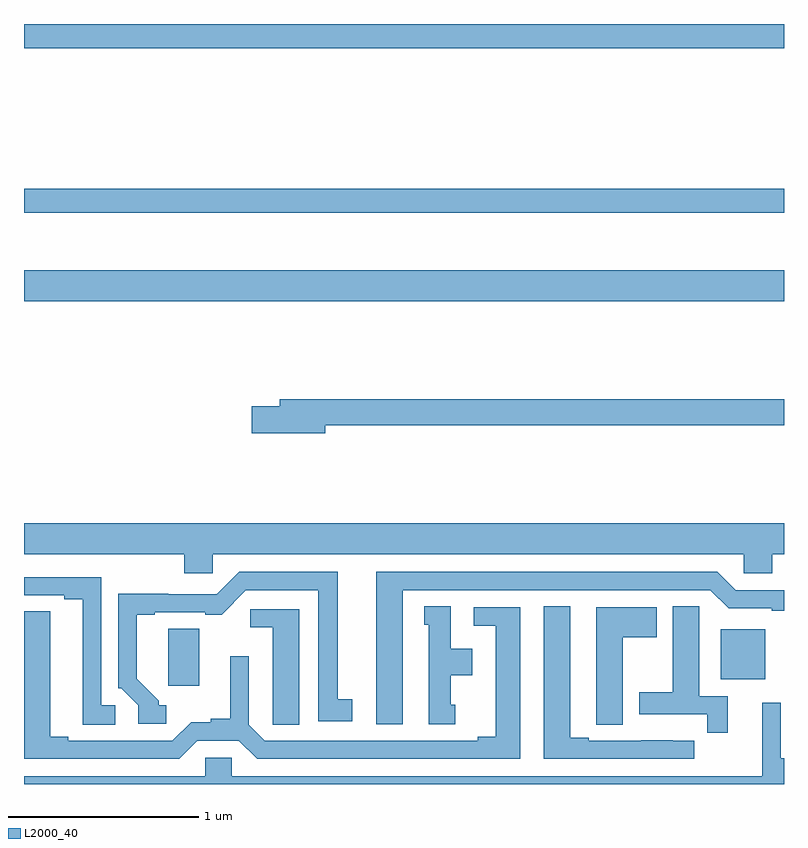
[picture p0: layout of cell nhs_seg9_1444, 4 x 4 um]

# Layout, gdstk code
import gdstk
lib = gdstk.Library(unit=1e-6, precision=1e-09)
def R(c, l, rs):  # rectangles x0, y0, x1, y1
    for r in rs: c.add(gdstk.rectangle(r[:2], r[2:], *l))
def P(c, l, *ps):  # polygons
    for p in ps: c.add(gdstk.Polygon(p, *l))
L2000_40 = (2000, 40)

nhs_seg9_1444 = lib.new_cell('nhs_seg9_1444')
R(nhs_seg9_1444, L2000_40, [(194.666,1241.051,194.902,1241.314), (191,1243.04,195,1243.204), (191,1243.506,195,1243.634), (191,1244.372,195,1244.5)])
P(nhs_seg9_1444, L2000_40, [(192.586,1242.388),(195,1242.388),(195,1242.524),(192.347,1242.524),(192.347,1242.488),(192.198,1242.488),(192.198,1242.346),(192.586,1242.346)],
  [(191.994,1241.708),(194.787,1241.708),(194.787,1241.61),(194.939,1241.61),(194.939,1241.708),(195,1241.708),(195,1241.872),(191,1241.872),(191,1241.708),(191.843,1241.708),(191.843,1241.61),(191.994,1241.61)],
  [(191.749,1240.914),(191.71,1240.914),(191.71,1240.938),(191.593,1241.054),(191.593,1241.391),(191.689,1241.391),(191.689,1241.403),(191.954,1241.403),(191.954,1241.392),(192.04,1241.392),(192.168,1241.52),(192.548,1241.52),(192.548,1240.83),(192.727,1240.83),(192.727,1240.946),(192.652,1240.946),(192.652,1241.616),(192.132,1241.616),(192.015,1241.499),(191.759,1241.499),(191.759,1241.501),(191.496,1241.501),(191.496,1241.004),(191.511,1241.004),(191.601,1240.914),(191.601,1240.818),(191.749,1240.818)],
  [(192.994,1241.52),(194.613,1241.52),(194.709,1241.424),(194.936,1241.424),(194.936,1241.412),(195,1241.412),(195,1241.52),(194.745,1241.52),(194.649,1241.616),(192.854,1241.616),(192.854,1240.815),(192.994,1240.815)],
  [(191.479,1240.914),(191.406,1240.914),(191.406,1241.589),(191,1241.589),(191,1241.493),(191.213,1241.493),(191.213,1241.473),(191.309,1241.473),(191.309,1240.813),(191.479,1240.813)],
  [(194.527,1240.728),(194.414,1240.728),(194.414,1240.729),(194.248,1240.729),(194.248,1240.728),(193.972,1240.728),(193.972,1240.743),(193.876,1240.743),(193.876,1241.435),(193.736,1241.435),(193.736,1240.632),(194.527,1240.632)],
  [(193.27,1240.917),(193.246,1240.917),(193.246,1241.072),(193.36,1241.072),(193.36,1241.212),(193.246,1241.212),(193.246,1241.435),(193.106,1241.435),(193.106,1241.337),(193.13,1241.337),(193.13,1240.815),(193.27,1240.815)],
  [(194.705,1240.962),(194.554,1240.962),(194.554,1241.324),(194.553,1241.324),(194.553,1241.435),(194.414,1241.435),(194.414,1240.983),(194.237,1240.983),(194.237,1240.866),(194.596,1240.866),(194.596,1240.77),(194.705,1240.77)],
  [(194.152,1241.272),(194.329,1241.272),(194.329,1241.431),(194.012,1241.431),(194.012,1240.921),(194.013,1240.921),(194.013,1240.813),(194.152,1240.813)],
  [(191.913,1240.728),(192.131,1240.728),(192.227,1240.632),(193.612,1240.632),(193.612,1241.43),(193.368,1241.43),(193.368,1241.334),(193.484,1241.334),(193.484,1240.748),(193.388,1240.748),(193.388,1240.728),(192.267,1240.728),(192.183,1240.812),(192.183,1241.173),(192.086,1241.173),(192.086,1240.844),(191.982,1240.844),(191.982,1240.826),(191.879,1240.826),(191.781,1240.728),(191.233,1240.728),(191.233,1240.748),(191.137,1240.748),(191.137,1241.408),(191,1241.408),(191,1240.632),(191.817,1240.632)],
  [(192.448,1241.421),(192.192,1241.421),(192.192,1241.324),(192.308,1241.324),(192.308,1240.921),(192.309,1240.921),(192.309,1240.813),(192.448,1240.813)],
  [(191.923,1241.16),(191.922,1241.16),(191.922,1241.318),(191.759,1241.318),(191.759,1241.016),(191.923,1241.016)],
  [(195,1240.636),(194.982,1240.636),(194.982,1240.927),(194.885,1240.927),(194.885,1240.54),(192.093,1240.54),(192.093,1240.638),(191.955,1240.638),(191.955,1240.54),(191,1240.54),(191,1240.5),(195,1240.5)])

lib.write_gds('nhs_seg9_1444.gds')
